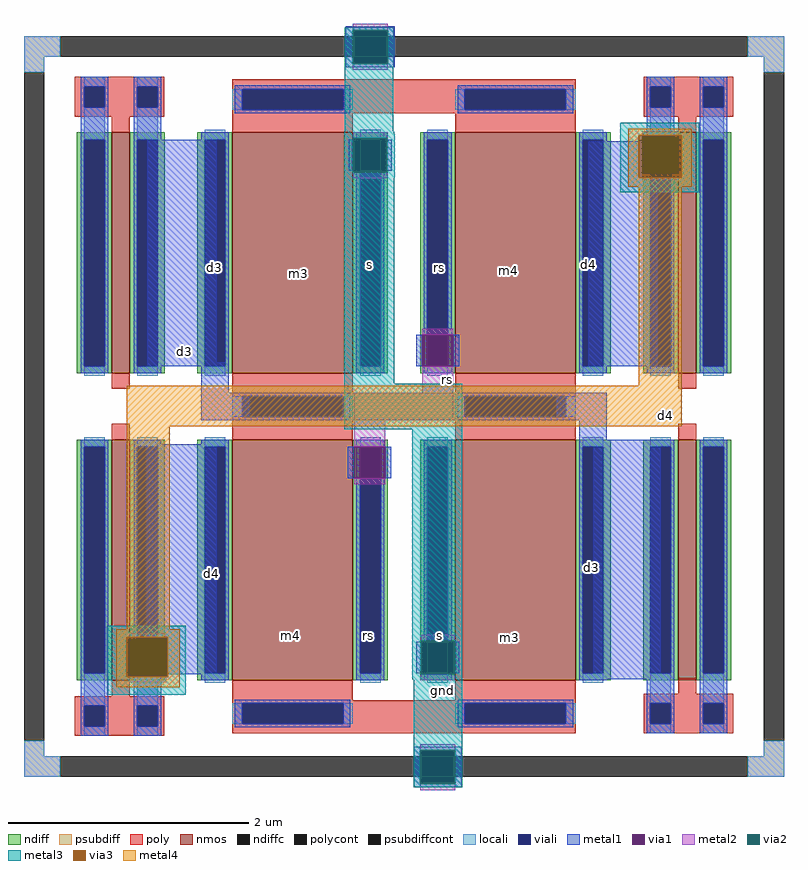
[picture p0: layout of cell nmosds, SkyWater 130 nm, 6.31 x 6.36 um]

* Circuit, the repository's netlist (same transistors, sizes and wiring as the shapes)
** sch_path: /home/muhammadyavi/project/opamp/mag/nmosds.sch
.subckt nmosds D4 D3 RS GND
*.PININFO D4:B GND:B D3:B RS:B
XM4 D4 D3 RS GND sky130_fd_pr__nfet_01v8 L=1 W=2 nf=1 m=2
XM3 D3 D3 GND GND sky130_fd_pr__nfet_01v8 L=1 W=2 nf=1 m=2
XM1 D3 D3 D3 GND sky130_fd_pr__nfet_01v8 L=0.15 W=2 nf=1 m=2
XM2 D4 D4 D4 GND sky130_fd_pr__nfet_01v8 L=0.15 W=2 nf=1 m=2
.ends
.end

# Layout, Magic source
magic
tech sky130A
magscale 1 2
<< psubdiff >>
rect 974 572 1034 606
rect 2176 572 2236 606
rect 974 546 1008 572
rect 2202 546 2236 572
rect 974 -590 1008 -564
rect 2202 -590 2236 -564
rect 974 -624 1034 -590
rect 2176 -624 2236 -590
<< psubdiffcont >>
rect 1034 572 2176 606
rect 974 -564 1008 546
rect 2202 -564 2236 546
rect 1034 -624 2176 -590
<< poly >>
rect 1058 522 1207 538
rect 1058 488 1074 522
rect 1108 488 1162 522
rect 1196 488 1207 522
rect 1058 472 1207 488
rect 1520 478 1690 534
rect 2003 522 2152 538
rect 2003 488 2014 522
rect 2048 488 2102 522
rect 2136 488 2152 522
rect 2003 472 2152 488
rect 1120 446 1150 472
rect 2060 446 2090 472
rect 1520 -32 1690 14
rect 1120 -490 1150 -464
rect 2060 -486 2090 -460
rect 1058 -506 1207 -490
rect 1058 -540 1074 -506
rect 1108 -540 1162 -506
rect 1196 -540 1207 -506
rect 1058 -556 1207 -540
rect 1520 -552 1690 -497
rect 2003 -502 2152 -486
rect 2003 -536 2014 -502
rect 2048 -536 2102 -502
rect 2136 -536 2152 -502
rect 2003 -552 2152 -536
<< polycont >>
rect 1074 488 1108 522
rect 1162 488 1196 522
rect 2014 488 2048 522
rect 2102 488 2136 522
rect 1074 -540 1108 -506
rect 1162 -540 1196 -506
rect 2014 -536 2048 -502
rect 2102 -536 2136 -502
<< locali >>
rect 974 572 1034 606
rect 2176 572 2236 606
rect 974 546 1008 572
rect 2202 546 2236 572
rect 1074 522 1108 538
rect 1074 446 1108 488
rect 1162 522 1196 538
rect 1162 446 1196 488
rect 2014 522 2048 538
rect 2014 446 2048 488
rect 2102 522 2136 538
rect 2102 446 2136 488
rect 1074 -506 1108 -464
rect 1074 -556 1108 -540
rect 1162 -506 1196 -464
rect 1162 -556 1196 -540
rect 2014 -502 2048 -460
rect 2014 -552 2048 -536
rect 2102 -502 2136 -460
rect 2102 -552 2136 -536
rect 974 -590 1008 -564
rect 2202 -590 2236 -564
rect 974 -624 1034 -590
rect 2176 -624 2236 -590
<< viali >>
rect 1520 606 1578 616
rect 1520 572 1578 606
rect 1520 560 1578 572
rect 1074 488 1108 522
rect 1162 488 1196 522
rect 2014 488 2048 522
rect 2102 488 2136 522
rect 1074 -540 1108 -506
rect 1162 -540 1196 -506
rect 2014 -536 2048 -502
rect 2102 -536 2136 -502
rect 1633 -590 1689 -580
rect 1633 -624 1689 -590
rect 1633 -635 1689 -624
<< metal1 >>
rect 1508 616 1590 622
rect 1508 560 1520 616
rect 1578 560 1590 616
rect 1508 554 1590 560
rect 1068 522 1114 538
rect 1068 488 1074 522
rect 1108 488 1114 522
rect 1068 446 1114 488
rect 1156 522 1202 538
rect 1156 488 1162 522
rect 1196 488 1202 522
rect 1156 446 1202 488
rect 2008 522 2054 538
rect 2008 488 2014 522
rect 2048 488 2054 522
rect 2008 446 2054 488
rect 2096 522 2142 538
rect 2096 488 2102 522
rect 2136 488 2142 522
rect 2096 446 2142 488
rect 1179 64 1294 434
rect 1513 382 1523 434
rect 1575 382 1585 434
rect 1995 431 2005 434
rect 1911 382 2005 431
rect 2057 382 2067 434
rect 1179 58 1314 64
rect 1625 58 1635 110
rect 1687 58 1697 110
rect 1911 58 2026 382
rect 1268 14 1314 58
rect 1268 -32 1348 14
rect 1862 8 1942 14
rect 1858 -26 1942 8
rect 1862 -32 1942 -26
rect 1896 -64 1942 -32
rect 1178 -400 1294 -72
rect 1512 -128 1522 -76
rect 1574 -128 1584 -76
rect 1143 -452 1153 -400
rect 1205 -452 1294 -400
rect 1625 -452 1635 -400
rect 1687 -452 1697 -400
rect 1178 -454 1294 -452
rect 1919 -460 2031 -64
rect 1919 -462 2054 -460
rect 1068 -506 1114 -464
rect 1068 -540 1074 -506
rect 1108 -540 1114 -506
rect 1068 -556 1114 -540
rect 1156 -506 1202 -464
rect 1156 -540 1162 -506
rect 1196 -540 1202 -506
rect 1156 -556 1202 -540
rect 2008 -502 2054 -462
rect 2008 -536 2014 -502
rect 2048 -536 2054 -502
rect 2008 -552 2054 -536
rect 2096 -502 2142 -460
rect 2096 -536 2102 -502
rect 2136 -536 2142 -502
rect 2096 -552 2142 -536
rect 1621 -580 1701 -574
rect 1621 -636 1632 -580
rect 1690 -636 1701 -580
rect 1621 -641 1701 -636
<< via1 >>
rect 1520 560 1578 616
rect 1523 382 1575 434
rect 2005 382 2057 434
rect 1635 58 1687 110
rect 1522 -128 1574 -76
rect 1153 -452 1205 -400
rect 1635 -452 1687 -400
rect 1632 -635 1633 -580
rect 1633 -635 1689 -580
rect 1689 -635 1690 -580
rect 1632 -636 1690 -635
<< metal2 >>
rect 1520 616 1578 626
rect 1520 550 1578 560
rect 1521 436 1577 446
rect 1521 370 1577 380
rect 2001 438 2061 448
rect 2001 367 2061 377
rect 1635 110 1687 120
rect 1635 14 1687 58
rect 1522 -32 1687 14
rect 1522 -76 1574 -32
rect 1522 -138 1574 -128
rect 1148 -396 1210 -386
rect 1148 -466 1210 -456
rect 1633 -398 1689 -388
rect 1633 -464 1689 -454
rect 1149 -467 1209 -466
rect 1632 -580 1690 -570
rect 1632 -646 1690 -636
<< via2 >>
rect 1520 560 1578 616
rect 1521 434 1577 436
rect 1521 382 1523 434
rect 1523 382 1575 434
rect 1575 382 1577 434
rect 1521 380 1577 382
rect 2001 434 2061 438
rect 2001 382 2005 434
rect 2005 382 2057 434
rect 2057 382 2061 434
rect 2001 377 2061 382
rect 1148 -400 1210 -396
rect 1148 -452 1153 -400
rect 1153 -452 1205 -400
rect 1205 -452 1210 -400
rect 1148 -456 1210 -452
rect 1633 -400 1689 -398
rect 1633 -452 1635 -400
rect 1635 -452 1687 -400
rect 1687 -452 1689 -400
rect 1633 -454 1689 -452
rect 1632 -636 1690 -580
<< metal3 >>
rect 1507 616 1588 621
rect 1507 560 1520 616
rect 1578 560 1588 616
rect 1507 555 1588 560
rect 1507 447 1587 555
rect 1506 444 1589 447
rect 1506 436 1590 444
rect 1506 380 1521 436
rect 1577 380 1590 436
rect 1506 371 1590 380
rect 1964 441 2095 462
rect 1964 371 1995 441
rect 2066 371 2095 441
rect 1506 29 1589 371
rect 1964 347 2095 371
rect 1506 -47 1702 29
rect 1112 -392 1243 -373
rect 1112 -458 1145 -392
rect 1213 -458 1243 -392
rect 1112 -488 1243 -458
rect 1619 -398 1702 -47
rect 1619 -454 1633 -398
rect 1689 -454 1702 -398
rect 1619 -462 1702 -454
rect 1621 -580 1702 -462
rect 1621 -636 1632 -580
rect 1690 -636 1702 -580
rect 1621 -641 1702 -636
<< via3 >>
rect 1995 438 2066 441
rect 1995 377 2001 438
rect 2001 377 2061 438
rect 2061 377 2066 438
rect 1995 371 2066 377
rect 1145 -396 1213 -392
rect 1145 -456 1148 -396
rect 1148 -456 1210 -396
rect 1210 -456 1213 -396
rect 1145 -458 1213 -456
<< metal4 >>
rect 1977 441 2083 452
rect 1977 371 1995 441
rect 2066 371 2083 441
rect 1977 356 2083 371
rect 1995 25 2066 356
rect 1145 -42 2066 25
rect 1145 -379 1216 -42
rect 1127 -392 1233 -379
rect 1127 -458 1145 -392
rect 1213 -458 1233 -392
rect 1127 -475 1233 -458
use sky130_fd_pr__nfet_01v8_S44669  sky130_fd_pr__nfet_01v8_S44669_0
transform 1 0 1790 0 1 -264
box -158 -288 158 288
use sky130_fd_pr__nfet_01v8_S44669  sky130_fd_pr__nfet_01v8_S44669_2
transform 1 0 1420 0 1 246
box -158 -288 158 288
use sky130_fd_pr__nfet_01v8_S44669  sky130_fd_pr__nfet_01v8_S44669_3
transform 1 0 1790 0 1 246
box -158 -288 158 288
use sky130_fd_pr__nfet_01v8_S44669  sky130_fd_pr__nfet_01v8_S44669_4
transform 1 0 1420 0 1 -264
box -158 -288 158 288
use sky130_fd_pr__nfet_01v8_TC9PLT  sky130_fd_pr__nfet_01v8_TC9PLT_3
transform 1 0 1135 0 1 -264
box -73 -226 73 226
use sky130_fd_pr__nfet_01v8_TC9PLT  sky130_fd_pr__nfet_01v8_TC9PLT_5
transform 1 0 1135 0 1 246
box -73 -226 73 226
use sky130_fd_pr__nfet_01v8_TC9PLT  sky130_fd_pr__nfet_01v8_TC9PLT_6
transform 1 0 2075 0 1 246
box -73 -226 73 226
use sky130_fd_pr__nfet_01v8_TC9PLT  sky130_fd_pr__nfet_01v8_TC9PLT_7
transform 1 0 2075 0 1 -264
box -73 -226 73 226
<< labels >>
flabel space 1430 212 1430 212 0 FreeSans 320 0 0 0 m3
flabel space 1780 -392 1780 -392 0 FreeSans 320 0 0 0 m3
flabel space 1416 -390 1416 -390 0 FreeSans 320 0 0 0 m4
flabel space 1778 216 1778 216 0 FreeSans 320 0 0 0 m4
flabel space 1664 222 1664 222 0 FreeSans 320 0 0 0 rs
flabel space 1546 -390 1546 -390 0 FreeSans 320 0 0 0 rs
flabel metal2 1664 -390 1664 -390 0 FreeSans 320 0 0 0 s
flabel metal1 1286 -286 1286 -286 0 FreeSans 320 0 0 0 d4
flabel space 1916 -276 1916 -276 0 FreeSans 320 0 0 0 d3
flabel metal1 1290 221 1290 221 0 FreeSans 320 0 0 0 d3
flabel metal3 1548 226 1548 226 0 FreeSans 320 0 0 0 s
flabel metal1 1911 227 1911 227 0 FreeSans 320 0 0 0 d4
flabel metal4 2040 -24 2040 -24 0 FreeSans 640 0 0 0 d4
port 0 nsew
flabel metal2 1677 36 1677 36 0 FreeSans 640 0 0 0 rs
port 1 nsew
flabel metal1 1240 82 1240 82 0 FreeSans 640 0 0 0 d3
port 2 nsew
flabel metal3 1669 -480 1669 -480 0 FreeSans 640 0 0 0 gnd
port 3 nsew
<< end >>

# cell sky130_fd_pr__nfet_01v8_S44669: kit device sky130_fd_pr__nfet_01v8, w 2 l 1 m 1 nf 1 diffcov 100 polycov 100 guard 0 glc 1 grc 1 gtc 1 gbc 1 tbcov 100 rlcov 100 topc 1 botc 1 poverlap 0 doverlap 1 lmin 0.15 wmin 0.42 compatible {sky130_fd_pr__nfet_01v8 sky130_fd_pr__nfet_01v8_lvt sky130_fd_bs_flash__special_sonosfet_star sky130_fd_pr__nfet_g5v0d10v5 sky130_fd_pr__nfet_05v0_nvt sky130_fd_pr__nfet_03v3_nvt} full_metal 1 viasrc 100 viadrn 100 viagate 100 viagb 0 viagr 0 viagl 0 viagt 0

# cell sky130_fd_pr__nfet_01v8_TC9PLT: kit device sky130_fd_pr__nfet_01v8, w 2 l 0.150 m 1 nf 1 diffcov 100 polycov 100 guard 0 glc 1 grc 1 gtc 1 gbc 1 tbcov 100 rlcov 100 topc 0 botc 0 poverlap 0 doverlap 1 lmin 0.15 wmin 0.42 compatible {sky130_fd_pr__nfet_01v8 sky130_fd_pr__nfet_01v8_lvt sky130_fd_bs_flash__special_sonosfet_star sky130_fd_pr__nfet_g5v0d10v5 sky130_fd_pr__nfet_05v0_nvt sky130_fd_pr__nfet_03v3_nvt} full_metal 1 viasrc 100 viadrn 100 viagate 100 viagb 0 viagr 0 viagl 0 viagt 0
